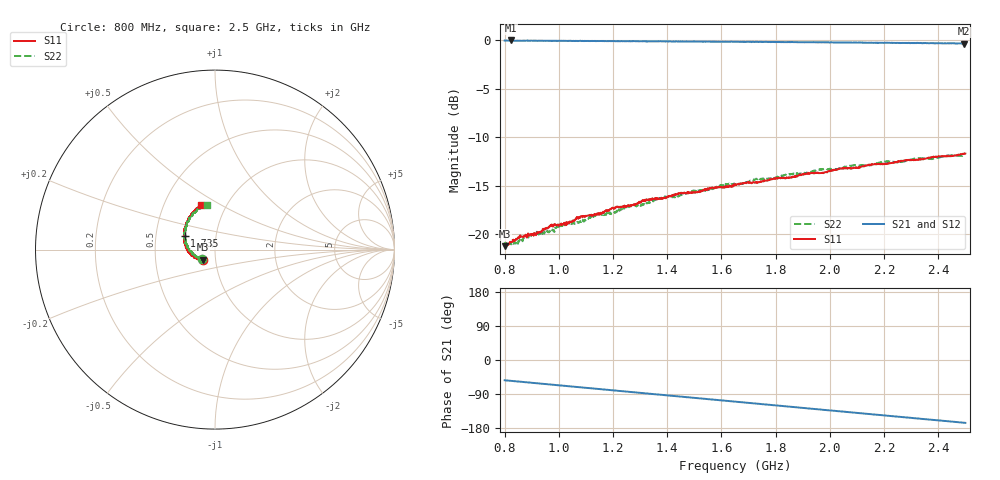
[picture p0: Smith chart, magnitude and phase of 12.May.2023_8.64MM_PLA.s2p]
!Keysight Technologies N9950B: A.12.38
!Date: Friday, 12 May 2023 12:09:47
!Timezone: (UTC-06:00) Central Time (US & Canada)
!Model: N9950B
!Serial: MY61131330
!GPS Latitude:
!GPS Longitude:
!GPS TimeStamp: 0001-01-01 00:00:00Z
!GPS Seconds Since Last Read: 0
!CHECKSUM:1644523392
!Correction: S11(ON U)S21(ON U)S12(ON U)S22(ON U)
!S2P File: Measurements:S11,S21,S12,S22:
# Hz S DB R 50
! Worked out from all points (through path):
!   1001 points, 800 MHz to 2.5 GHz, reference 50 ohm
!   highest |S21| = -0.03 dB at 822.1 MHz (marker M1); lowest = -0.4 dB at 2.495 GHz (marker M2)
!   group delay of S21, straight-line fit = 184 ps
!   lowest |S11| = -21.2 dB at 801.7 MHz (marker M3), VSWR 1.19, Z = 43.5 - j4.85 ohm
!   |S11| at or under -10 dB: start of sweep to end of sweep
!   |S22| runs from -21.2 to -11.9 dB; largest |S21 - S12| = 0.006
!   S11 on the Smith chart (normalised r, x): 800 MHz: 0.87, -0.10; 1.735 GHz: 0.70, +0.11; 2.5 GHz: 0.76, +0.41
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8e8  -21.17 -140.4  -0.04 -53.4  -0.07 -53.4  -21.07 -142.4
8.017e8  -21.24 -140.3  -0.06 -53.6  -0.05 -53.5  -20.90 -142.0
8.221e8  -20.80 -140.8  -0.03 -54.9  -0.05 -55.0  -20.84 -143.6
8.578e8  -20.14 -143.2  -0.05 -57.3  -0.07 -57.3  -20.75 -148.7
9.156e8  -20.11 -147.8  -0.06 -61.2  -0.07 -61.2  -19.85 -151.1
9.717e8  -19.17 -152.4  -0.06 -64.9  -0.08 -64.9  -19.61 -156.0
1.0244e9  -18.80 -155.3  -0.09 -68.3  -0.08 -68.4  -18.99 -159.5
1.0839e9  -18.14 -159.4  -0.10 -72.3  -0.10 -72.4  -18.66 -163.9
1.1434e9  -17.86 -163.9  -0.09 -76.2  -0.10 -76.3  -18.05 -168.9
1.2012e9  -17.29 -167.2  -0.10 -80.0  -0.12 -80.0  -17.72 -172.8
1.2352e9  -17.14 -169.7  -0.11 -82.3  -0.12 -82.4  -17.36 -176.1
1.3678e9  -16.37 -179.6  -0.12 -91.2  -0.14 -91.0  -16.22 175.8
1.4341e9  -15.89 176.5  -0.13 -95.6  -0.16 -95.6  -16.14 171.4
1.5004e9  -15.73 171.6  -0.13 -99.9  -0.16 -100.0  -15.51 167.6
1.65e9  -14.86 162.2  -0.16 -109.9  -0.19 -109.8  -14.83 158.1
1.735e9  -14.67 156.3  -0.18 -115.4  -0.19 -115.5  -14.26 151.9
1.9339e9  -13.71 144.2  -0.22 -128.6  -0.24 -128.5  -13.57 137.8
2.0631e9  -13.24 135.5  -0.25 -137.2  -0.25 -137.1  -13.07 129.9
2.2178e9  -12.69 126.2  -0.27 -147.4  -0.28 -147.4  -12.51 120.5
2.3521e9  -12.22 117.2  -0.29 -156.1  -0.31 -156.2  -12.22 111.1
2.4949e9  -11.72 107.8  -0.36 -165.6  -0.37 -165.5  -11.94 101.3
2.5e9  -11.69 107.5  -0.34 -165.9  -0.36 -165.9  -11.94 100.6
